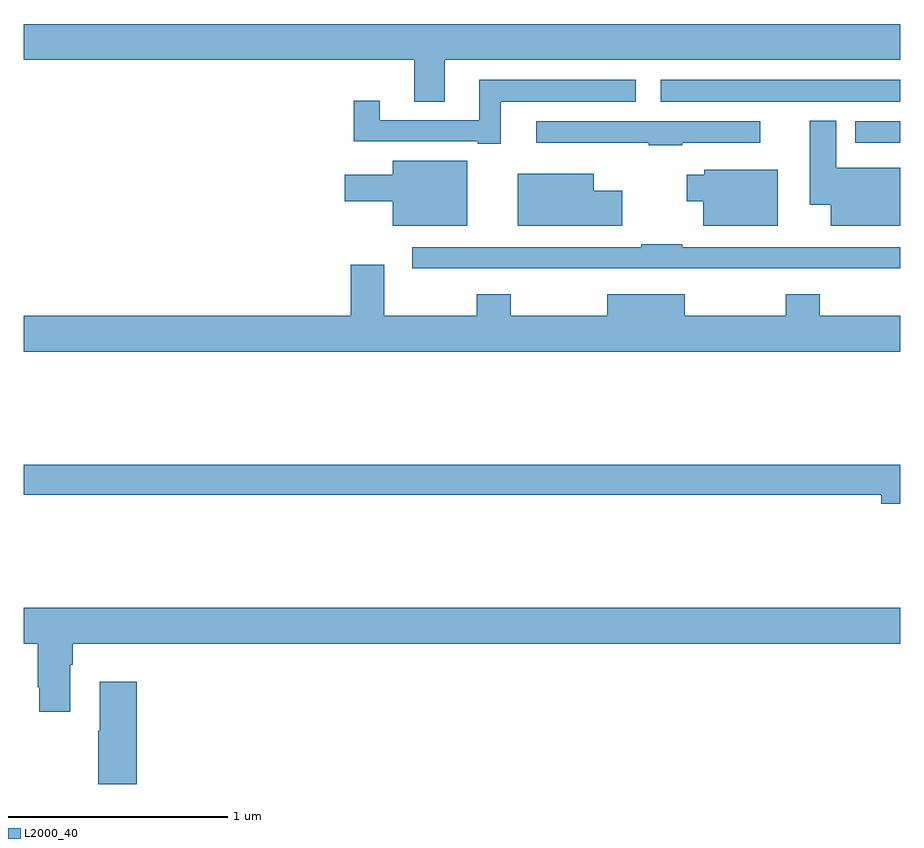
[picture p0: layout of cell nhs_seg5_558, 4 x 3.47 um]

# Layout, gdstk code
import gdstk
lib = gdstk.Library(unit=1e-6, precision=1e-09)
def R(c, l, rs):  # rectangles x0, y0, x1, y1
    for r in rs: c.add(gdstk.rectangle(r[:2], r[2:], *l))
def P(c, l, *ps):  # polygons
    for p in ps: c.add(gdstk.Polygon(p, *l))
L2000_40 = (2000, 40)

nhs_seg5_558 = lib.new_cell('nhs_seg5_558')
R(nhs_seg5_558, L2000_40, [(150.794,845.727,151,845.823), (149.907,845.912,151,846.013)])
P(nhs_seg5_558, L2000_40, [(148.921,846.104),(151,846.104),(151,846.268),(147,846.268),(147,846.104),(148.781,846.104),(148.781,845.914),(148.921,845.914)],
  [(149.176,845.912),(149.794,845.912),(149.794,846.013),(149.078,846.013),(149.078,845.829),(148.624,845.829),(148.624,845.917),(148.507,845.917),(148.507,845.733),(149.072,845.733),(149.072,845.721),(149.176,845.721)],
  [(151,845.611),(150.709,845.611),(150.709,845.827),(150.587,845.827),(150.587,845.444),(150.683,845.444),(150.683,845.348),(151,845.348)],
  [(150.005,845.727),(150.361,845.727),(150.361,845.823),(149.34,845.823),(149.34,845.726),(149.698,845.726),(149.698,845.725),(149.852,845.725),(149.852,845.715),(150.005,845.715)],
  [(149.023,845.644),(148.685,845.644),(148.685,845.581),(148.464,845.581),(148.464,845.459),(148.685,845.459),(148.685,845.348),(149.023,845.348)],
  [(150.442,845.602),(150.105,845.602),(150.105,845.581),(150.026,845.581),(150.026,845.459),(150.101,845.459),(150.101,845.348),(150.442,845.348)],
  [(149.731,845.506),(149.602,845.506),(149.602,845.584),(149.255,845.584),(149.255,845.348),(149.731,845.348)],
  [(149.567,845.154),(150.112,845.154),(150.112,845.153),(150.389,845.153),(150.389,845.154),(150.721,845.154),(150.721,845.153),(150.977,845.153),(150.977,845.154),(151,845.154),(151,845.25),(150.005,845.25),(150.005,845.263),(149.818,845.263),(149.818,845.25),(148.773,845.25),(148.773,845.154),(149.311,845.154),(149.311,845.153),(149.567,845.153)],
  [(151,844.936),(150.633,844.936),(150.633,845.035),(150.478,845.035),(150.478,844.936),(150.016,844.936),(150.016,845.035),(149.663,845.035),(149.663,844.936),(149.223,844.936),(149.223,845.035),(149.068,845.035),(149.068,844.936),(148.645,844.936),(148.645,845.17),(148.493,845.17),(148.493,844.936),(147,844.936),(147,844.772),(151,844.772)],
  [(151,844.256),(147,844.256),(147,844.12),(150.914,844.12),(150.914,844.078),(151,844.078)],
  [(147.211,843.344),(147.224,843.344),(147.224,843.44),(151,843.44),(151,843.604),(147,843.604),(147,843.44),(147.064,843.44),(147.064,843.241),(147.071,843.241),(147.071,843.129),(147.211,843.129)],
  [(147.515,843.265),(147.347,843.265),(147.347,843.041),(147.34,843.041),(147.34,842.799),(147.515,842.799)])

lib.write_gds('nhs_seg5_558.gds')
